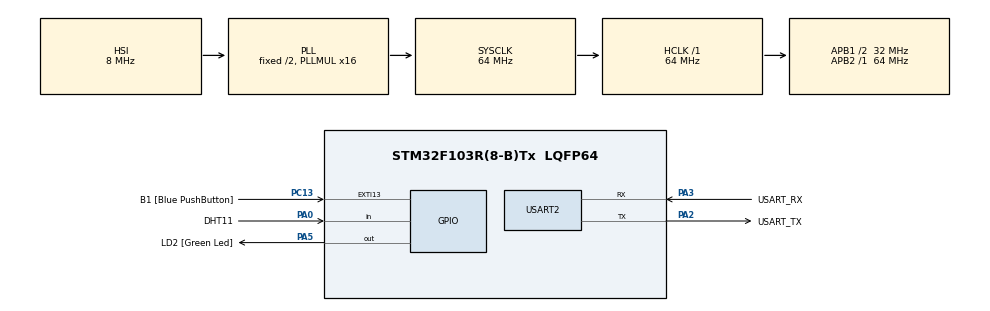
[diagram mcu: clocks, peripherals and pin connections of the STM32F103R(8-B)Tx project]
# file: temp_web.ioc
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Mcu.Family=STM32F1
Mcu.Name=STM32F103R(8-B)Tx
Mcu.Package=LQFP64
NVIC.EXTI15_10_IRQn=true\:0\:0\:false\:false\:true\:true\:true\:true
NVIC.PriorityGroup=NVIC_PRIORITYGROUP_4
PA0-WKUP.GPIO_Label=DHT11
PA0-WKUP.Signal=GPIO_Input
PA13.GPIO_Label=TMS
PA13.Mode=Serial_Wire
PA13.Signal=SYS_JTMS-SWDIO
PA14.GPIO_Label=TCK
PA14.Mode=Serial_Wire
PA14.Signal=SYS_JTCK-SWCLK
PA2.GPIO_Label=USART_TX
PA2.GPIO_Mode=GPIO_MODE_AF_PP
PA2.GPIO_PuPd=GPIO_NOPULL
PA2.GPIO_Speed=GPIO_SPEED_FREQ_LOW
PA2.Mode=Asynchronous
PA2.Signal=USART2_TX
PA3.GPIO_Label=USART_RX
PA3.GPIO_Mode=GPIO_MODE_AF_PP
PA3.GPIO_PuPd=GPIO_NOPULL
PA3.GPIO_Speed=GPIO_SPEED_FREQ_LOW
PA3.Mode=Asynchronous
PA3.Signal=USART2_RX
PA5.GPIO_Label=LD2 [Green Led]
PA5.GPIO_ModeDefaultOutputPP=GPIO_MODE_OUTPUT_PP
PA5.GPIO_PuPd=GPIO_NOPULL
PA5.GPIO_Speed=GPIO_SPEED_FREQ_LOW
PA5.Signal=GPIO_Output
PB3.GPIO_Label=SWO
PB3.Signal=SYS_JTDO-TRACESWO
PC13-TAMPER-RTC.GPIO_Label=B1 [Blue PushButton]
PC13-TAMPER-RTC.GPIO_PuPd=GPIO_NOPULL
PC13-TAMPER-RTC.Signal=GPXTI13
PC14-OSC32_IN.Signal=RCC_OSC32_IN
PC15-OSC32_OUT.Signal=RCC_OSC32_OUT
PD0-OSC_IN.Signal=RCC_OSC_IN
PD1-OSC_OUT.Signal=RCC_OSC_OUT
ProjectManager.HeapSize=0x200
ProjectManager.StackSize=0x400
ProjectManager.TargetToolchain=STM32CubeIDE
RCC.AHBFreq_Value=64000000
RCC.APB1CLKDivider=RCC_HCLK_DIV2
RCC.APB1Freq_Value=32000000
RCC.APB1TimFreq_Value=64000000
RCC.APB2Freq_Value=64000000
RCC.APB2TimFreq_Value=64000000
RCC.HCLKFreq_Value=64000000
RCC.PLLMUL=RCC_PLL_MUL16
RCC.RTCClockSelection=RCC_RTCCLKSOURCE_LSE
RCC.SYSCLKFreq_VALUE=64000000
RCC.SYSCLKSource=RCC_SYSCLKSOURCE_PLLCLK
RCC.USBFreq_Value=64000000
TIM2.Prescaler=64-1
USART2.VirtualMode=VM_ASYNC
VP_TIM2_VS_ClockSourceINT.Mode=Internal
board=NUCLEO-F103RB

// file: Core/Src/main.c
/* USER CODE BEGIN Header */
/**
  ******************************************************************************
  * @file           : main.c
  * @brief          : Main program body
  ******************************************************************************
  * @attention
  *
  * Copyright (c) 2025 STMicroelectronics.
  * All rights reserved.
  *
  * This software is licensed under terms that can be found in the LICENSE file
  * in the root directory of this software component.
  * If no LICENSE file comes with this software, it is provided AS-IS.
  *
  ******************************************************************************
  */
/* USER CODE END Header */
#include "main.h"

/* USER CODE BEGIN Includes */
#include <stdio.h>
#include <string.h>
#include "DHT11.h"
/* USER CODE END Includes */

TIM_HandleTypeDef htim2;

UART_HandleTypeDef huart2;

/* USER CODE BEGIN PV */
DHT11_Data dht11_data;
char buff[100];
/* USER CODE END PV */

void SystemClock_Config(void);
static void MX_GPIO_Init(void);
static void MX_USART2_UART_Init(void);
static void MX_TIM2_Init(void);
/* USER CODE BEGIN PFP */
void DHT11_SetPinOutput(void);
void DHT11_SetPinInput(void);
void DHT11_SetPin(GPIO_PinState state);
GPIO_PinState DHT11_ReadPin(void);
void DHT11_DelayUs(uint32_t us);
uint8_t DHT11_Start(void);
uint8_t DHT11_ReadBit(void);
uint8_t DHT11_ReadByte(void);
uint8_t DHT11_ReadData(DHT11_Data *data);
/* USER CODE END PFP */

int main(void)
{

  /* MCU Configuration--------------------------------------------------------*/

  /* Reset of all peripherals, Initializes the Flash interface and the Systick. */
  HAL_Init();

  /* Configure the system clock */
  SystemClock_Config();

  /* Initialize all configured peripherals */
  MX_GPIO_Init();
  MX_USART2_UART_Init();
  MX_TIM2_Init();
  /* USER CODE BEGIN 2 */
  HAL_TIM_Base_Start(&htim2);
  /* USER CODE END 2 */

  /* Infinite loop */
  while (1)
  {

    /* USER CODE BEGIN 3 */
	  if (DHT11_ReadData(&dht11_data))
	  {
	  // 데이터 읽기 성공
	  	sprintf(buff, "Temperature: %d°C, Humidity: %d%%\r\n",
	  	dht11_data.temperature, dht11_data.humidity);
	  	HAL_UART_Transmit(&huart2, (uint8_t*)buff, strlen(buff), HAL_MAX_DELAY);
	  }

	  else
	  {
	  // 데이터 읽기 실패
	  	sprintf(buff, "DHT11 Read Error!\r\n");
	  	HAL_UART_Transmit(&huart2, (uint8_t*)buff, strlen(buff), HAL_MAX_DELAY);
	  }

	  // 2초 대기 (DHT11은 최소 2초 간격으로 읽어야 함)
	  HAL_Delay(500);
  }
  /* USER CODE END 3 */
}

void SystemClock_Config(void)
{
  RCC_OscInitTypeDef RCC_OscInitStruct = {0};
  RCC_ClkInitTypeDef RCC_ClkInitStruct = {0};

  /** Initializes the RCC Oscillators according to the specified parameters
  * in the RCC_OscInitTypeDef structure.
  */
  RCC_OscInitStruct.OscillatorType = RCC_OSCILLATORTYPE_HSI;
  RCC_OscInitStruct.HSIState = RCC_HSI_ON;
  RCC_OscInitStruct.HSICalibrationValue = RCC_HSICALIBRATION_DEFAULT;
  RCC_OscInitStruct.PLL.PLLState = RCC_PLL_ON;
  RCC_OscInitStruct.PLL.PLLSource = RCC_PLLSOURCE_HSI_DIV2;
  RCC_OscInitStruct.PLL.PLLMUL = RCC_PLL_MUL16;
  if (HAL_RCC_OscConfig(&RCC_OscInitStruct) != HAL_OK)
  {
    Error_Handler();
  }

  /** Initializes the CPU, AHB and APB buses clocks
  */
  RCC_ClkInitStruct.ClockType = RCC_CLOCKTYPE_HCLK|RCC_CLOCKTYPE_SYSCLK
                              |RCC_CLOCKTYPE_PCLK1|RCC_CLOCKTYPE_PCLK2;
  RCC_ClkInitStruct.SYSCLKSource = RCC_SYSCLKSOURCE_PLLCLK;
  RCC_ClkInitStruct.AHBCLKDivider = RCC_SYSCLK_DIV1;
  RCC_ClkInitStruct.APB1CLKDivider = RCC_HCLK_DIV2;
  RCC_ClkInitStruct.APB2CLKDivider = RCC_HCLK_DIV1;

  if (HAL_RCC_ClockConfig(&RCC_ClkInitStruct, FLASH_LATENCY_2) != HAL_OK)
  {
    Error_Handler();
  }
}

static void MX_TIM2_Init(void)
{

  TIM_ClockConfigTypeDef sClockSourceConfig = {0};
  TIM_MasterConfigTypeDef sMasterConfig = {0};

  htim2.Instance = TIM2;
  htim2.Init.Prescaler = 64-1;
  htim2.Init.CounterMode = TIM_COUNTERMODE_UP;
  htim2.Init.Period = 65535;
  htim2.Init.ClockDivision = TIM_CLOCKDIVISION_DIV1;
  htim2.Init.AutoReloadPreload = TIM_AUTORELOAD_PRELOAD_DISABLE;
  if (HAL_TIM_Base_Init(&htim2) != HAL_OK)
  {
    Error_Handler();
  }
  sClockSourceConfig.ClockSource = TIM_CLOCKSOURCE_INTERNAL;
  if (HAL_TIM_ConfigClockSource(&htim2, &sClockSourceConfig) != HAL_OK)
  {
    Error_Handler();
  }
  sMasterConfig.MasterOutputTrigger = TIM_TRGO_RESET;
  sMasterConfig.MasterSlaveMode = TIM_MASTERSLAVEMODE_DISABLE;
  if (HAL_TIMEx_MasterConfigSynchronization(&htim2, &sMasterConfig) != HAL_OK)
  {
    Error_Handler();
  }

}

static void MX_USART2_UART_Init(void)
{

  huart2.Instance = USART2;
  huart2.Init.BaudRate = 115200;
  huart2.Init.WordLength = UART_WORDLENGTH_8B;
  huart2.Init.StopBits = UART_STOPBITS_1;
  huart2.Init.Parity = UART_PARITY_NONE;
  huart2.Init.Mode = UART_MODE_TX_RX;
  huart2.Init.HwFlowCtl = UART_HWCONTROL_NONE;
  huart2.Init.OverSampling = UART_OVERSAMPLING_16;
  if (HAL_UART_Init(&huart2) != HAL_OK)
  {
    Error_Handler();
  }

}

static void MX_GPIO_Init(void)
{
  GPIO_InitTypeDef GPIO_InitStruct = {0};

  /* GPIO Ports Clock Enable */
  __HAL_RCC_GPIOC_CLK_ENABLE();
  __HAL_RCC_GPIOD_CLK_ENABLE();
  __HAL_RCC_GPIOA_CLK_ENABLE();
  __HAL_RCC_GPIOB_CLK_ENABLE();

  /*Configure GPIO pin Output Level */
  HAL_GPIO_WritePin(LD2_GPIO_Port, LD2_Pin, GPIO_PIN_RESET);

  /*Configure GPIO pin : B1_Pin */
  GPIO_InitStruct.Pin = B1_Pin;
  GPIO_InitStruct.Mode = GPIO_MODE_IT_RISING;
  GPIO_InitStruct.Pull = GPIO_NOPULL;
  HAL_GPIO_Init(B1_GPIO_Port, &GPIO_InitStruct);

  /*Configure GPIO pin : DHT11_Pin */
  GPIO_InitStruct.Pin = DHT11_Pin;
  GPIO_InitStruct.Mode = GPIO_MODE_INPUT;
  GPIO_InitStruct.Pull = GPIO_NOPULL;
  HAL_GPIO_Init(DHT11_GPIO_Port, &GPIO_InitStruct);

  /*Configure GPIO pin : LD2_Pin */
  GPIO_InitStruct.Pin = LD2_Pin;
  GPIO_InitStruct.Mode = GPIO_MODE_OUTPUT_PP;
  GPIO_InitStruct.Pull = GPIO_NOPULL;
  GPIO_InitStruct.Speed = GPIO_SPEED_FREQ_LOW;
  HAL_GPIO_Init(LD2_GPIO_Port, &GPIO_InitStruct);

  /* EXTI interrupt init*/
  HAL_NVIC_SetPriority(EXTI15_10_IRQn, 0, 0);
  HAL_NVIC_EnableIRQ(EXTI15_10_IRQn);

}

void Error_Handler(void)
{
  __disable_irq();
  while (1)
  {
  }
}
